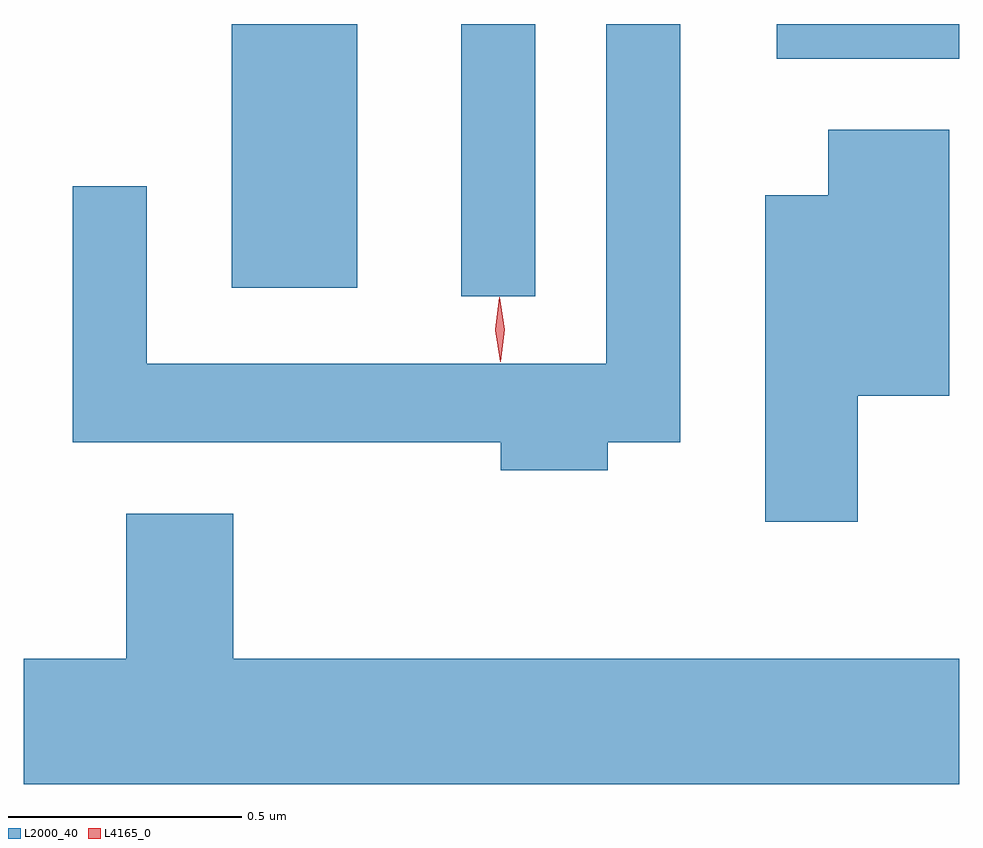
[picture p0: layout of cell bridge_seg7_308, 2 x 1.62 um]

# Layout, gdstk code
import gdstk
lib = gdstk.Library(unit=1e-6, precision=1e-09)
def R(c, l, rs):  # rectangles x0, y0, x1, y1
    for r in rs: c.add(gdstk.rectangle(r[:2], r[2:], *l))
def P(c, l, *ps):  # polygons
    for p in ps: c.add(gdstk.Polygon(p, *l))
L2000_40 = (2000, 40)
L4165_0 = (4165, 0)

bridge_seg7_308 = lib.new_cell('bridge_seg7_308')
R(bridge_seg7_308, L2000_40, [(1318.726,1797.498,1318.884,1798.08), (1318.236,1797.516,1318.504,1798.08), (1319.401,1798.006,1319.791,1798.08)])
P(bridge_seg7_308, L2000_40, [(1319.039,1797.186),(1319.194,1797.186),(1319.194,1798.08),(1319.036,1798.08),(1319.036,1797.354),(1318.054,1797.354),(1318.054,1797.733),(1317.896,1797.733),(1317.896,1797.186),(1318.811,1797.186),(1318.811,1797.126),(1319.039,1797.126)],
  [(1319.574,1797.286),(1319.769,1797.286),(1319.769,1797.854),(1319.511,1797.854),(1319.511,1797.714),(1319.376,1797.714),(1319.376,1797.016),(1319.574,1797.016)],
  [(1319.791,1796.724),(1318.239,1796.724),(1318.239,1797.034),(1318.011,1797.034),(1318.011,1796.724),(1317.791,1796.724),(1317.791,1796.456),(1319.791,1796.456)])
P(bridge_seg7_308, L4165_0, [(1318.81,1797.358),(1318.81,1797.358),(1318.799,1797.427),(1318.808,1797.496),(1318.808,1797.496),(1318.809,1797.496),(1318.819,1797.427),(1318.811,1797.358)],
  [(1318.81,1797.36),(1318.81,1797.36),(1318.799,1797.426),(1318.808,1797.493),(1318.808,1797.493),(1318.809,1797.493),(1318.819,1797.427),(1318.811,1797.36)])

lib.write_gds('bridge_seg7_308.gds')
